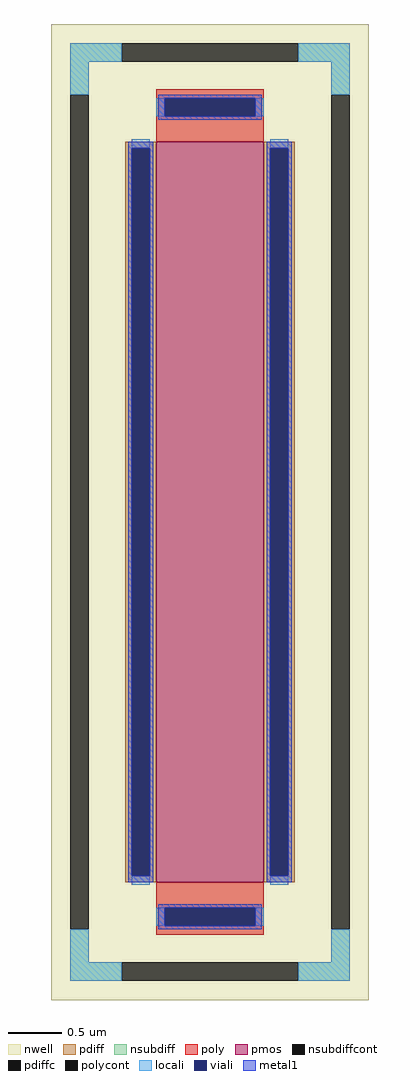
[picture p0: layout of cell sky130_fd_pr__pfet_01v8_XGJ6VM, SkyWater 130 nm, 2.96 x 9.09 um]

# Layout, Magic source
magic
tech sky130A
magscale 1 2
<< nwell >>
rect -296 -909 296 909
<< pmos >>
rect -100 -690 100 690
<< pdiff >>
rect -158 678 -100 690
rect -158 -678 -146 678
rect -112 -678 -100 678
rect -158 -690 -100 -678
rect 100 678 158 690
rect 100 -678 112 678
rect 146 -678 158 678
rect 100 -690 158 -678
<< pdiffc >>
rect -146 -678 -112 678
rect 112 -678 146 678
<< nsubdiff >>
rect -260 839 -164 873
rect 164 839 260 873
rect -260 777 -226 839
rect 226 777 260 839
rect -260 -839 -226 -777
rect 226 -839 260 -777
rect -260 -873 -164 -839
rect 164 -873 260 -839
<< nsubdiffcont >>
rect -164 839 164 873
rect -260 -777 -226 777
rect 226 -777 260 777
rect -164 -873 164 -839
<< poly >>
rect -100 771 100 787
rect -100 737 -84 771
rect 84 737 100 771
rect -100 690 100 737
rect -100 -737 100 -690
rect -100 -771 -84 -737
rect 84 -771 100 -737
rect -100 -787 100 -771
<< polycont >>
rect -84 737 84 771
rect -84 -771 84 -737
<< locali >>
rect -260 839 -164 873
rect 164 839 260 873
rect -260 777 -226 839
rect 226 777 260 839
rect -100 737 -84 771
rect 84 737 100 771
rect -146 678 -112 694
rect -146 -694 -112 -678
rect 112 678 146 694
rect 112 -694 146 -678
rect -100 -771 -84 -737
rect 84 -771 100 -737
rect -260 -839 -226 -777
rect 226 -839 260 -777
rect -260 -873 -164 -839
rect 164 -873 260 -839
<< viali >>
rect -84 737 84 771
rect -146 -678 -112 678
rect 112 -678 146 678
rect -84 -771 84 -737
<< metal1 >>
rect -96 771 96 777
rect -96 737 -84 771
rect 84 737 96 771
rect -96 731 96 737
rect -152 678 -106 690
rect -152 -678 -146 678
rect -112 -678 -106 678
rect -152 -690 -106 -678
rect 106 678 152 690
rect 106 -678 112 678
rect 146 -678 152 678
rect 106 -690 152 -678
rect -96 -737 96 -731
rect -96 -771 -84 -737
rect 84 -771 96 -737
rect -96 -777 96 -771
<< properties >>
string FIXED_BBOX -243 -856 243 856
string gencell sky130_fd_pr__pfet_01v8
string library sky130
string parameters w 6.9 l 1.0 m 1 nf 1 diffcov 100 polycov 100 guard 1 glc 1 grc 1 gtc 1 gbc 1 tbcov 100 rlcov 100 topc 1 botc 1 poverlap 0 doverlap 1 lmin 0.15 wmin 0.42 compatible {sky130_fd_pr__pfet_01v8  sky130_fd_pr__pfet_01v8_lvt sky130_fd_pr__pfet_01v8_hvt  sky130_fd_pr__pfet_g5v0d10v5} full_metal 1 viasrc 100 viadrn 100 viagate 100 viagb 0 viagr 0 viagl 0 viagt 0
<< end >>
